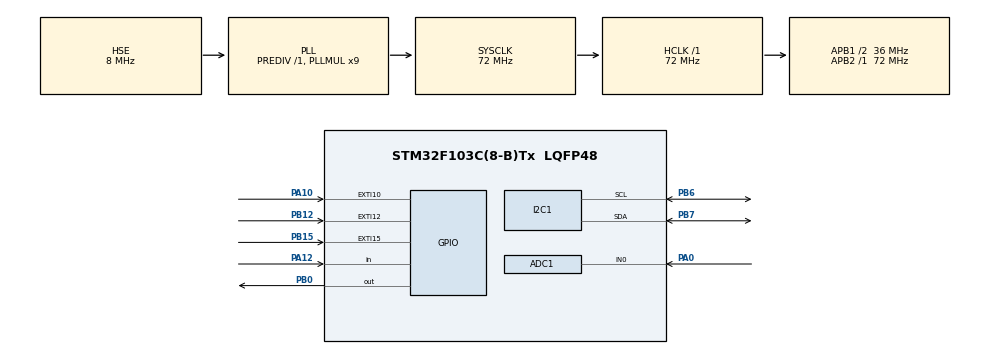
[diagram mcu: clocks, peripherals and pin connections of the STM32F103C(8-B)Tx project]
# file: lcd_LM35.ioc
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ADC1.Channel-0\#ChannelRegularConversion=ADC_CHANNEL_0
ADC1.ContinuousConvMode=ENABLE
ADC1.NbrOfConversionFlag=1
ADC1.Rank-0\#ChannelRegularConversion=1
ADC1.SamplingTime-0\#ChannelRegularConversion=ADC_SAMPLETIME_1CYCLE_5
ADC1.master=1
Mcu.Family=STM32F1
Mcu.Name=STM32F103C(8-B)Tx
Mcu.Package=LQFP48
NVIC.EXTI15_10_IRQn=true\:1\:0\:true\:false\:true\:true\:true\:true
NVIC.PriorityGroup=NVIC_PRIORITYGROUP_4
PA0-WKUP.Signal=ADCx_IN0
PA10.GPIO_PuPd=GPIO_PULLUP
PA10.Signal=GPXTI10
PA12.GPIO_PuPd=GPIO_PULLUP
PA12.Signal=GPIO_Input
PA13.Mode=Serial_Wire
PA13.Signal=SYS_JTMS-SWDIO
PA14.Mode=Serial_Wire
PA14.Signal=SYS_JTCK-SWCLK
PB0.Signal=GPIO_Output
PB12.GPIO_ModeDefaultEXTI=GPIO_MODE_IT_FALLING
PB12.GPIO_PuPd=GPIO_PULLUP
PB12.Signal=GPXTI12
PB15.GPIO_ModeDefaultEXTI=GPIO_MODE_IT_FALLING
PB15.GPIO_PuPd=GPIO_PULLUP
PB15.Signal=GPXTI15
PB6.Mode=I2C
PB6.Signal=I2C1_SCL
PB7.Mode=I2C
PB7.Signal=I2C1_SDA
PD0-OSC_IN.Mode=HSE-External-Oscillator
PD0-OSC_IN.Signal=RCC_OSC_IN
PD1-OSC_OUT.Mode=HSE-External-Oscillator
PD1-OSC_OUT.Signal=RCC_OSC_OUT
ProjectManager.HeapSize=0x200
ProjectManager.StackSize=0x400
ProjectManager.TargetToolchain=MDK-ARM V5.32
RCC.ADCPresc=RCC_ADCPCLK2_DIV6
RCC.AHBFreq_Value=72000000
RCC.APB1CLKDivider=RCC_HCLK_DIV2
RCC.APB1Freq_Value=36000000
RCC.APB1TimFreq_Value=72000000
RCC.APB2Freq_Value=72000000
RCC.APB2TimFreq_Value=72000000
RCC.HCLKFreq_Value=72000000
RCC.PLLMUL=RCC_PLL_MUL9
RCC.PLLSourceVirtual=RCC_PLLSOURCE_HSE
RCC.SYSCLKFreq_VALUE=72000000
RCC.SYSCLKSource=RCC_SYSCLKSOURCE_PLLCLK
RCC.USBFreq_Value=72000000
SH.ADCx_IN0.0=ADC1_IN0,IN0
board=custom

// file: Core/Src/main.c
/* USER CODE BEGIN Header */
/**
  ******************************************************************************
  * @file           : main.c
  * @brief          : Main program body
  ******************************************************************************
  * @attention
  *
  * Copyright (c) 2024 STMicroelectronics.
  * All rights reserved.
  *
  * This software is licensed under terms that can be found in the LICENSE file
  * in the root directory of this software component.
  * If no LICENSE file comes with this software, it is provided AS-IS.
  *
  ******************************************************************************
  */
/* USER CODE END Header */
#include "main.h"
#include "stdio.h"
#include "i2c-lcd.h"
char str[20];
char chedo[20];
uint16_t adcValue;
float nhietdo, dienap;
volatile uint8_t autoMode = 0; // 0 la tat ; 1 la bat
volatile uint8_t manualMode = 0;
float count = 0; // count cai dat nguong nhiet do
uint8_t set = 0; // nut set

ADC_HandleTypeDef hadc1;

I2C_HandleTypeDef hi2c1;

void SystemClock_Config(void);
static void MX_GPIO_Init(void);
static void MX_ADC1_Init(void);
static void MX_I2C1_Init(void);

/* USER CODE BEGIN 0 */
void HAL_GPIO_EXTI_Callback(uint16_t GPIO_PIN)
{
    if (GPIO_PIN == GPIO_PIN_12) // Nъt nh?n chuy?n d?i sang ch? d? Auto
    {
        autoMode = 1;
        manualMode = 0;

        lcd_clear();
        lcd_put_cur(0, 3);
        lcd_send_string("Auto mode ");
				HAL_Delay(1000);
    }
    else if (GPIO_PIN == GPIO_PIN_15) // nut chuyen qua ThuCong
    {
        autoMode = 0;
        manualMode = 1;

        lcd_clear();
        lcd_put_cur(0, 3);
        lcd_send_string("Manual mode ");

        // hien thi nhiet do SET len lcd
					if (set)
					{
							sprintf(str, "NhietDoSET: %.1f C", count);
							lcd_put_cur(1, 0);
							lcd_send_string(str);
					}
				HAL_Delay(1000);
			}
			else if (GPIO_PIN == GPIO_PIN_10) // nut chinh nhiet do cai dat
			{
					if (manualMode)
					{
							count += 1.0;
							set = 1; // set =1 thi nhiet do da dc cai` dat
							sprintf(str, "NhietDoSET: %.1f C", count);
							lcd_put_cur(1, 0);
							lcd_send_string(str);
							HAL_Delay(1000);
					}
			}
}

/* USER CODE END 0 */

int main(void)
{

  /* MCU Configuration--------------------------------------------------------*/

  /* Reset of all peripherals, Initializes the Flash interface and the Systick. */
  HAL_Init();

  /* Configure the system clock */
  SystemClock_Config();

  /* Initialize all configured peripherals */
  MX_GPIO_Init();
  MX_ADC1_Init();
  MX_I2C1_Init();
  /* USER CODE BEGIN 2 */
  lcd_init();
  HAL_ADC_Start(&hadc1);
  /* USER CODE END 2 */
	sprintf(chedo, "Chon che do");
	lcd_put_cur(0, 3);
	lcd_send_string(chedo);
	sprintf(chedo, "Auto or Manual");
	lcd_put_cur(1, 0);
	lcd_send_string(chedo);
  /* Infinite loop */
  while (1)
  {
		// ham cap nhat nhiet do cua 2 che do auto va thu cong
   if (autoMode || manualMode)
    {
        adcValue = 0;
        for (int i = 0; i < 20; i++)
        {
            HAL_ADC_PollForConversion(&hadc1, 100);
            adcValue += HAL_ADC_GetValue(&hadc1);
            HAL_Delay(10);
        }
        dienap = adcValue / 20;
        nhietdo = ((dienap * 3.3 * 100) / 4095);

        sprintf(str, "Nhiet do : %.1f C", nhietdo);
        lcd_clear();
        lcd_put_cur(0, 0);
        lcd_send_string(str);

       //che do tu dong
        if (autoMode)
        {

            if (nhietdo > 45)
            {
                HAL_GPIO_WritePin(GPIOB, GPIO_PIN_0, GPIO_PIN_SET); //bat relay
            }
            else
            {
                HAL_GPIO_WritePin(GPIOB, GPIO_PIN_0, GPIO_PIN_RESET); // tat relay
            }
        }
        else if (manualMode)
        {

            if (nhietdo > count)
            {
                HAL_GPIO_WritePin(GPIOB, GPIO_PIN_0, GPIO_PIN_SET); // bat relay
            }
            else
            {
                HAL_GPIO_WritePin(GPIOB, GPIO_PIN_0, GPIO_PIN_RESET); // tat relay
            }
        }

        HAL_Delay(1000); // Р?i 1 giвy tru?c khi d?c l?i nhi?t d?
    }
  }
}

void SystemClock_Config(void)
{
  RCC_OscInitTypeDef RCC_OscInitStruct = {0};
  RCC_ClkInitTypeDef RCC_ClkInitStruct = {0};
  RCC_PeriphCLKInitTypeDef PeriphClkInit = {0};

  /** Initializes the RCC Oscillators according to the specified parameters
  * in the RCC_OscInitTypeDef structure.
  */
  RCC_OscInitStruct.OscillatorType = RCC_OSCILLATORTYPE_HSE;
  RCC_OscInitStruct.HSEState = RCC_HSE_ON;
  RCC_OscInitStruct.HSEPredivValue = RCC_HSE_PREDIV_DIV1;
  RCC_OscInitStruct.HSIState = RCC_HSI_ON;
  RCC_OscInitStruct.PLL.PLLState = RCC_PLL_ON;
  RCC_OscInitStruct.PLL.PLLSource = RCC_PLLSOURCE_HSE;
  RCC_OscInitStruct.PLL.PLLMUL = RCC_PLL_MUL9;
  if (HAL_RCC_OscConfig(&RCC_OscInitStruct) != HAL_OK)
  {
    Error_Handler();
  }

  /** Initializes the CPU, AHB and APB buses clocks
  */
  RCC_ClkInitStruct.ClockType = RCC_CLOCKTYPE_HCLK|RCC_CLOCKTYPE_SYSCLK
                              |RCC_CLOCKTYPE_PCLK1|RCC_CLOCKTYPE_PCLK2;
  RCC_ClkInitStruct.SYSCLKSource = RCC_SYSCLKSOURCE_PLLCLK;
  RCC_ClkInitStruct.AHBCLKDivider = RCC_SYSCLK_DIV1;
  RCC_ClkInitStruct.APB1CLKDivider = RCC_HCLK_DIV2;
  RCC_ClkInitStruct.APB2CLKDivider = RCC_HCLK_DIV1;

  if (HAL_RCC_ClockConfig(&RCC_ClkInitStruct, FLASH_LATENCY_2) != HAL_OK)
  {
    Error_Handler();
  }
  PeriphClkInit.PeriphClockSelection = RCC_PERIPHCLK_ADC;
  PeriphClkInit.AdcClockSelection = RCC_ADCPCLK2_DIV6;
  if (HAL_RCCEx_PeriphCLKConfig(&PeriphClkInit) != HAL_OK)
  {
    Error_Handler();
  }
}

static void MX_ADC1_Init(void)
{

  ADC_ChannelConfTypeDef sConfig = {0};

  /** Common config
  */
  hadc1.Instance = ADC1;
  hadc1.Init.ScanConvMode = ADC_SCAN_DISABLE;
  hadc1.Init.ContinuousConvMode = ENABLE;
  hadc1.Init.DiscontinuousConvMode = DISABLE;
  hadc1.Init.ExternalTrigConv = ADC_SOFTWARE_START;
  hadc1.Init.DataAlign = ADC_DATAALIGN_RIGHT;
  hadc1.Init.NbrOfConversion = 1;
  if (HAL_ADC_Init(&hadc1) != HAL_OK)
  {
    Error_Handler();
  }

  /** Configure Regular Channel
  */
  sConfig.Channel = ADC_CHANNEL_0;
  sConfig.Rank = ADC_REGULAR_RANK_1;
  sConfig.SamplingTime = ADC_SAMPLETIME_1CYCLE_5;
  if (HAL_ADC_ConfigChannel(&hadc1, &sConfig) != HAL_OK)
  {
    Error_Handler();
  }

}

static void MX_I2C1_Init(void)
{

  hi2c1.Instance = I2C1;
  hi2c1.Init.ClockSpeed = 100000;
  hi2c1.Init.DutyCycle = I2C_DUTYCYCLE_2;
  hi2c1.Init.OwnAddress1 = 0;
  hi2c1.Init.AddressingMode = I2C_ADDRESSINGMODE_7BIT;
  hi2c1.Init.DualAddressMode = I2C_DUALADDRESS_DISABLE;
  hi2c1.Init.OwnAddress2 = 0;
  hi2c1.Init.GeneralCallMode = I2C_GENERALCALL_DISABLE;
  hi2c1.Init.NoStretchMode = I2C_NOSTRETCH_DISABLE;
  if (HAL_I2C_Init(&hi2c1) != HAL_OK)
  {
    Error_Handler();
  }

}

static void MX_GPIO_Init(void)
{
  GPIO_InitTypeDef GPIO_InitStruct = {0};

  /* GPIO Ports Clock Enable */
  __HAL_RCC_GPIOD_CLK_ENABLE();
  __HAL_RCC_GPIOA_CLK_ENABLE();
  __HAL_RCC_GPIOB_CLK_ENABLE();

  /*Configure GPIO pin Output Level */
  HAL_GPIO_WritePin(GPIOB, GPIO_PIN_0, GPIO_PIN_RESET);

  /*Configure GPIO pin : PB0 */
  GPIO_InitStruct.Pin = GPIO_PIN_0;
  GPIO_InitStruct.Mode = GPIO_MODE_OUTPUT_PP;
  GPIO_InitStruct.Pull = GPIO_NOPULL;
  GPIO_InitStruct.Speed = GPIO_SPEED_FREQ_LOW;
  HAL_GPIO_Init(GPIOB, &GPIO_InitStruct);

  /*Configure GPIO pins : PB12 PB15 */
  GPIO_InitStruct.Pin = GPIO_PIN_12|GPIO_PIN_15;
  GPIO_InitStruct.Mode = GPIO_MODE_IT_FALLING;
  GPIO_InitStruct.Pull = GPIO_PULLUP;
  HAL_GPIO_Init(GPIOB, &GPIO_InitStruct);

  /*Configure GPIO pin : PA10 */
  GPIO_InitStruct.Pin = GPIO_PIN_10;
  GPIO_InitStruct.Mode = GPIO_MODE_IT_RISING;
  GPIO_InitStruct.Pull = GPIO_PULLUP;
  HAL_GPIO_Init(GPIOA, &GPIO_InitStruct);

  /*Configure GPIO pin : PA12 */
  GPIO_InitStruct.Pin = GPIO_PIN_12;
  GPIO_InitStruct.Mode = GPIO_MODE_INPUT;
  GPIO_InitStruct.Pull = GPIO_PULLUP;
  HAL_GPIO_Init(GPIOA, &GPIO_InitStruct);

  /* EXTI interrupt init*/
  HAL_NVIC_SetPriority(EXTI15_10_IRQn, 1, 0);
  HAL_NVIC_EnableIRQ(EXTI15_10_IRQn);

}

void Error_Handler(void)
{
  __disable_irq();
  while (1)
  {
  }
}
